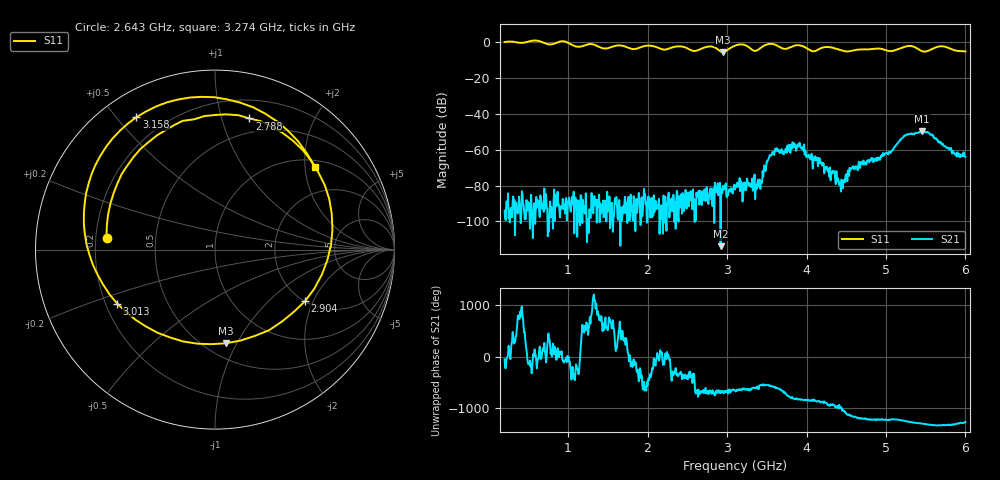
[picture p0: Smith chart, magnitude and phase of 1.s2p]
! NanoVNA-App
! Date: 2024-06-25 16:14:10
! Start: 200MHz Stop: 6GHz Points: 801
! S-Parameter data: F S11 S21 S12 S22
# Hz S RI R 50
!  Frequency  S11_Real  S11_Imag  S21_Real  S21_Imag  S12_Real  S12_Imag  S22_Real  S22_Imag
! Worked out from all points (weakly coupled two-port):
!   801 points, 200 MHz to 6 GHz, reference 50 ohm
!   highest |S21| = -49.70 dB at 5.456 GHz (marker M1); lowest = -113.8 dB at 2.919 GHz (marker M2)
!   lowest |S11| = -5.6 dB at 2.948 GHz (marker M3), VSWR 3.21, Z = 31.3 - j45.1 ohm
!   |S11| at or under -10 dB: nowhere
!   S12 and S22 are empty: the file has one direction only
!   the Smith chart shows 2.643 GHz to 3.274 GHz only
!   S11 on the Smith chart (normalised r, x): 2.643 GHz: 0.24, +0.05; 2.788 GHz: 0.36, +1.23; 2.904 GHz: 2.01, -1.74; 3.013 GHz: 0.25, -0.24; 3.158 GHz: 0.10, +0.56; 3.274 GHz: 1.17, +2.25
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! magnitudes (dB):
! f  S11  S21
! 200 MHz  0.0  -94.0
! 1.171 GHz  -2.3  -95.7
! 2.136 GHz  -3.2  -90.2
! 2.643 GHz  -4.3  -83.0
! 2.788 GHz  -2.4  -82.1
! 2.904 GHz  -4.8  -79.5
! 2.919 GHz  -5.2  -113.8
! 2.948 GHz  -5.6  -80.2
! 3.013 GHz  -4.1  -85.3
! 3.1 GHz  -2.0  -82.3
! 3.158 GHz  -1.3  -75.9
! 3.274 GHz  -2.8  -79.9
! 3.412 GHz  -3.6  -76.6
! 3.528 GHz  -1.0  -64.5
! 3.629 GHz  -1.9  -59.2
! 3.919 GHz  -1.8  -57.0
! 4.072 GHz  -5.1  -63.9
! 4.434 GHz  -4.5  -83.4
! 4.572 GHz  -4.8  -69.8
! 5.036 GHz  -5.0  -61.4
! 5.456 GHz  -5.1  -49.7
! 6 GHz  -5.2  -63.9
